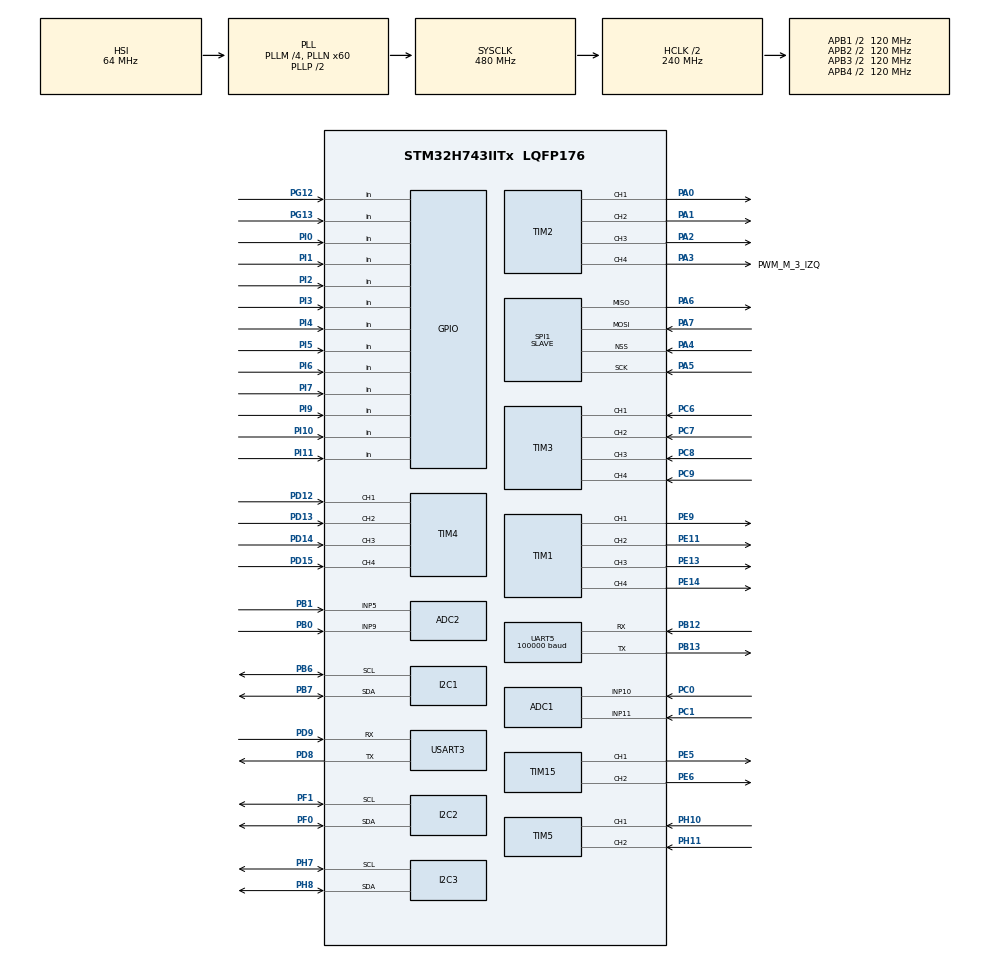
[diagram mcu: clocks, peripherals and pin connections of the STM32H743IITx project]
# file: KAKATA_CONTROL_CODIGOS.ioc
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ADC1.Channel-0\#ChannelRegularConversion=ADC_CHANNEL_11
ADC1.Channel-1\#ChannelRegularConversion=ADC_CHANNEL_10
ADC1.ClockPrescaler=ADC_CLOCK_ASYNC_DIV12
ADC1.ContinuousConvMode=ENABLE
ADC1.NbrOfConversion=2
ADC1.NbrOfConversionFlag=1
ADC1.OffsetNumber-0\#ChannelRegularConversion=ADC_OFFSET_NONE
ADC1.OffsetNumber-1\#ChannelRegularConversion=ADC_OFFSET_NONE
ADC1.OffsetSignedSaturation-0\#ChannelRegularConversion=DISABLE
ADC1.OffsetSignedSaturation-1\#ChannelRegularConversion=DISABLE
ADC1.Rank-0\#ChannelRegularConversion=1
ADC1.Rank-1\#ChannelRegularConversion=2
ADC1.SamplingTime-0\#ChannelRegularConversion=ADC_SAMPLETIME_1CYCLE_5
ADC1.SamplingTime-1\#ChannelRegularConversion=ADC_SAMPLETIME_1CYCLE_5
ADC1.master=1
ADC2.Channel-3\#ChannelRegularConversion=ADC_CHANNEL_9
ADC2.Channel-4\#ChannelRegularConversion=ADC_CHANNEL_5
ADC2.ClockPrescaler=ADC_CLOCK_ASYNC_DIV12
ADC2.NbrOfConversion=2
ADC2.NbrOfConversionFlag=1
ADC2.OffsetNumber-3\#ChannelRegularConversion=ADC_OFFSET_NONE
ADC2.OffsetNumber-4\#ChannelRegularConversion=ADC_OFFSET_NONE
ADC2.OffsetSignedSaturation-3\#ChannelRegularConversion=DISABLE
ADC2.OffsetSignedSaturation-4\#ChannelRegularConversion=DISABLE
ADC2.Rank-3\#ChannelRegularConversion=1
ADC2.Rank-4\#ChannelRegularConversion=2
ADC2.SamplingTime-3\#ChannelRegularConversion=ADC_SAMPLETIME_1CYCLE_5
ADC2.SamplingTime-4\#ChannelRegularConversion=ADC_SAMPLETIME_1CYCLE_5
CORTEX_M7.default_mode_Activation=1
Dma.ADC1.1.Direction=DMA_PERIPH_TO_MEMORY
Dma.ADC1.1.EventEnable=DISABLE
Dma.ADC1.1.FIFOMode=DMA_FIFOMODE_DISABLE
Dma.ADC1.1.Instance=DMA1_Stream1
Dma.ADC1.1.MemDataAlignment=DMA_MDATAALIGN_HALFWORD
Dma.ADC1.1.MemInc=DMA_MINC_ENABLE
Dma.ADC1.1.Mode=DMA_CIRCULAR
Dma.ADC1.1.PeriphDataAlignment=DMA_PDATAALIGN_HALFWORD
Dma.ADC1.1.PeriphInc=DMA_PINC_DISABLE
Dma.ADC1.1.Polarity=HAL_DMAMUX_REQ_GEN_RISING
Dma.ADC1.1.Priority=DMA_PRIORITY_LOW
Dma.ADC1.1.RequestNumber=1
Dma.ADC1.1.SignalID=NONE
Dma.ADC1.1.SyncEnable=DISABLE
Dma.ADC1.1.SyncPolarity=HAL_DMAMUX_SYNC_NO_EVENT
Dma.ADC1.1.SyncRequestNumber=1
Dma.ADC1.1.SyncSignalID=NONE
Dma.Request0=UART5_RX
Dma.Request1=ADC1
Dma.UART5_RX.0.Direction=DMA_PERIPH_TO_MEMORY
Dma.UART5_RX.0.EventEnable=DISABLE
Dma.UART5_RX.0.FIFOMode=DMA_FIFOMODE_DISABLE
Dma.UART5_RX.0.Instance=DMA1_Stream0
Dma.UART5_RX.0.MemDataAlignment=DMA_MDATAALIGN_BYTE
Dma.UART5_RX.0.MemInc=DMA_MINC_ENABLE
Dma.UART5_RX.0.Mode=DMA_CIRCULAR
Dma.UART5_RX.0.PeriphDataAlignment=DMA_PDATAALIGN_BYTE
Dma.UART5_RX.0.PeriphInc=DMA_PINC_DISABLE
Dma.UART5_RX.0.Polarity=HAL_DMAMUX_REQ_GEN_RISING
Dma.UART5_RX.0.Priority=DMA_PRIORITY_LOW
Dma.UART5_RX.0.RequestNumber=1
Dma.UART5_RX.0.SignalID=NONE
Dma.UART5_RX.0.SyncEnable=DISABLE
Dma.UART5_RX.0.SyncPolarity=HAL_DMAMUX_SYNC_NO_EVENT
Dma.UART5_RX.0.SyncRequestNumber=1
Dma.UART5_RX.0.SyncSignalID=NONE
FREERTOS.Tasks01=defaultTask,24,128,StartDefaultTask,Default,NULL,Dynamic,NULL,NULL
I2C1.Timing=0x307075B1
I2C2.Timing=0x307075B1
I2C3.Timing=0x307075B1
Mcu.Family=STM32H7
Mcu.Name=STM32H743IITx
Mcu.Package=LQFP176
NVIC.DMA1_Stream0_IRQn=true\:5\:0\:false\:false\:true\:true\:false\:true\:true
NVIC.DMA1_Stream1_IRQn=true\:5\:0\:false\:false\:true\:true\:false\:true\:true
NVIC.PriorityGroup=NVIC_PRIORITYGROUP_4
NVIC.TIM3_IRQn=true\:5\:0\:false\:false\:true\:true\:true\:true\:true
NVIC.TIM4_IRQn=true\:5\:0\:false\:false\:true\:true\:true\:true\:true
NVIC.TIM5_IRQn=true\:5\:0\:false\:false\:true\:true\:true\:true\:true
NVIC.TIM6_DAC_IRQn=true\:15\:0\:false\:false\:true\:false\:false\:true\:true
NVIC.TimeBase=TIM6_DAC_IRQn
NVIC.TimeBaseIP=TIM6
PA0.Signal=S_TIM2_CH1_ETR
PA1.Signal=S_TIM2_CH2
PA13\ (JTMS/SWDIO).Mode=JTAG_5_pins
PA13\ (JTMS/SWDIO).Signal=DEBUG_JTMS-SWDIO
PA14\ (JTCK/SWCLK).Mode=JTAG_5_pins
PA14\ (JTCK/SWCLK).Signal=DEBUG_JTCK-SWCLK
PA15\ (JTDI).Mode=JTAG_5_pins
PA15\ (JTDI).Signal=DEBUG_JTDI
PA2.Signal=S_TIM2_CH3
PA3.GPIO_Label=PWM_M_3_IZQ
PA3.Signal=S_TIM2_CH4
PA4.Mode=NSS_Signal_Hard_Input
PA4.Signal=SPI1_NSS
PA5.Mode=Full_Duplex_Slave
PA5.Signal=SPI1_SCK
PA6.Mode=Full_Duplex_Slave
PA6.Signal=SPI1_MISO
PA7.Mode=Full_Duplex_Slave
PA7.Signal=SPI1_MOSI
PB0.Signal=ADCx_INP9
PB1.Signal=ADCx_INP5
PB12.Mode=Asynchronous
PB12.Signal=UART5_RX
PB13.Mode=Asynchronous
PB13.Signal=UART5_TX
PB3\ (JTDO/TRACESWO).Mode=JTAG_5_pins
PB3\ (JTDO/TRACESWO).Signal=DEBUG_JTDO-SWO
PB4\ (NJTRST).Mode=JTAG_5_pins
PB4\ (NJTRST).Signal=DEBUG_JTRST
PB6.Mode=I2C
PB6.Signal=I2C1_SCL
PB7.Mode=I2C
PB7.Signal=I2C1_SDA
PC0.Signal=ADCx_INP10
PC1.Signal=ADCx_INP11
PC6.Signal=S_TIM3_CH1
PC7.Signal=S_TIM3_CH2
PC8.Signal=S_TIM3_CH3
PC9.Signal=S_TIM3_CH4
PD12.Signal=S_TIM4_CH1
PD13.Signal=S_TIM4_CH2
PD14.Signal=S_TIM4_CH3
PD15.Signal=S_TIM4_CH4
PD8.Mode=Asynchronous
PD8.Signal=USART3_TX
PD9.Mode=Asynchronous
PD9.Signal=USART3_RX
PE11.Signal=S_TIM1_CH2
PE13.Signal=S_TIM1_CH3
PE14.Signal=S_TIM1_CH4
PE5.Signal=S_TIM15_CH1
PE6.Signal=S_TIM15_CH2
PE9.Signal=S_TIM1_CH1
PF0.Mode=I2C
PF0.Signal=I2C2_SDA
PF1.Mode=I2C
PF1.Signal=I2C2_SCL
PG12.Signal=GPIO_Input
PG13.Signal=GPIO_Input
PH10.Signal=S_TIM5_CH1
PH11.Signal=S_TIM5_CH2
PH7.Mode=I2C
PH7.Signal=I2C3_SCL
PH8.Mode=I2C
PH8.Signal=I2C3_SDA
PI0.Signal=GPIO_Input
PI1.Signal=GPIO_Input
PI10.Signal=GPIO_Input
PI11.Signal=GPIO_Input
PI2.Signal=GPIO_Input
PI3.Signal=GPIO_Input
PI4.Signal=GPIO_Input
PI5.Signal=GPIO_Input
PI6.Signal=GPIO_Input
PI7.Signal=GPIO_Input
PI9.Signal=GPIO_Input
ProjectManager.HeapSize=0x200
ProjectManager.StackSize=0x400
ProjectManager.TargetToolchain=CMake
RCC.ADCFreq_Value=80000000
RCC.APB1Freq_Value=120000000
RCC.APB2Freq_Value=120000000
RCC.APB3Freq_Value=120000000
RCC.APB4Freq_Value=120000000
RCC.CortexFreq_Value=480000000
RCC.D1PPRE=RCC_APB3_DIV2
RCC.D2PPRE1=RCC_APB1_DIV2
RCC.D2PPRE2=RCC_APB2_DIV2
RCC.D3PPRE=RCC_APB4_DIV2
RCC.DIVM1=4
RCC.DIVM2=4
RCC.DIVN1=60
RCC.DIVN2=10
RCC.DIVQ1=5
RCC.HCLKFreq_Value=240000000
RCC.HPRE=RCC_HCLK_DIV2
RCC.PLL2FRACN=0
RCC.PLL3FRACN=0
RCC.PLLFRACN=0
RCC.SYSCLKFreq_VALUE=480000000
RCC.SYSCLKSource=RCC_SYSCLKSOURCE_PLLCLK
RCC.USBFreq_Value=192000000
SH.ADCx_INP10.0=ADC1_INP10,IN10-Single-Ended
SH.ADCx_INP11.0=ADC1_INP11,IN11-Single-Ended
SH.ADCx_INP5.0=ADC2_INP5,IN5-Single-Ended
SH.ADCx_INP9.0=ADC2_INP9,IN9-Single-Ended
SH.S_TIM15_CH1.0=TIM15_CH1,PWM Generation1 CH1
SH.S_TIM15_CH2.0=TIM15_CH2,PWM Generation2 CH2
SH.S_TIM1_CH1.0=TIM1_CH1,PWM Generation1 CH1
SH.S_TIM1_CH2.0=TIM1_CH2,PWM Generation2 CH2
SH.S_TIM1_CH3.0=TIM1_CH3,PWM Generation3 CH3
SH.S_TIM1_CH4.0=TIM1_CH4,PWM Generation4 CH4
SH.S_TIM2_CH1_ETR.0=TIM2_CH1,PWM Generation1 CH1
SH.S_TIM2_CH2.0=TIM2_CH2,PWM Generation2 CH2
SH.S_TIM2_CH3.0=TIM2_CH3,PWM Generation3 CH3
SH.S_TIM2_CH4.0=TIM2_CH4,PWM Generation4 CH4
SH.S_TIM3_CH1.0=TIM3_CH1,Input_Capture1_from_TI1
SH.S_TIM3_CH2.0=TIM3_CH2,Input_Capture2_from_TI2
SH.S_TIM3_CH3.0=TIM3_CH3,Input_Capture3_from_TI3
SH.S_TIM3_CH4.0=TIM3_CH4,Input_Capture4_from_TI4
SH.S_TIM4_CH1.0=TIM4_CH1,Input_Capture1_from_TI1
SH.S_TIM4_CH2.0=TIM4_CH2,Input_Capture2_from_TI2
SH.S_TIM4_CH3.0=TIM4_CH3,Input_Capture3_from_TI3
SH.S_TIM4_CH4.0=TIM4_CH4,Input_Capture4_from_TI4
SH.S_TIM5_CH1.0=TIM5_CH1,Input_Capture1_from_TI1
SH.S_TIM5_CH2.0=TIM5_CH2,Input_Capture2_from_TI2
SPI1.Direction=SPI_DIRECTION_2LINES
SPI1.Mode=SPI_MODE_SLAVE
SPI1.VirtualNSS=VM_NSSHARD
SPI1.VirtualType=VM_SLAVE
TIM1.Channel-PWM\ Generation1\ CH1=TIM_CHANNEL_1
TIM1.Channel-PWM\ Generation2\ CH2=TIM_CHANNEL_2
TIM1.Channel-PWM\ Generation3\ CH3=TIM_CHANNEL_3
TIM1.Channel-PWM\ Generation4\ CH4=TIM_CHANNEL_4
TIM15.Channel-PWM\ Generation1\ CH1=TIM_CHANNEL_1
TIM15.Channel-PWM\ Generation2\ CH2=TIM_CHANNEL_2
TIM2.AutoReloadPreload=TIM_AUTORELOAD_PRELOAD_ENABLE
TIM2.Channel-PWM\ Generation1\ CH1=TIM_CHANNEL_1
TIM2.Channel-PWM\ Generation2\ CH2=TIM_CHANNEL_2
TIM2.Channel-PWM\ Generation3\ CH3=TIM_CHANNEL_3
TIM2.Channel-PWM\ Generation4\ CH4=TIM_CHANNEL_4
TIM3.Channel-Input_Capture1_from_TI1=TIM_CHANNEL_1
TIM3.Channel-Input_Capture2_from_TI2=TIM_CHANNEL_2
TIM3.Channel-Input_Capture3_from_TI3=TIM_CHANNEL_3
TIM3.Channel-Input_Capture4_from_TI4=TIM_CHANNEL_4
TIM4.Channel-Input_Capture1_from_TI1=TIM_CHANNEL_1
TIM4.Channel-Input_Capture2_from_TI2=TIM_CHANNEL_2
TIM4.Channel-Input_Capture3_from_TI3=TIM_CHANNEL_3
TIM4.Channel-Input_Capture4_from_TI4=TIM_CHANNEL_4
TIM5.Channel-Input_Capture1_from_TI1=TIM_CHANNEL_1
TIM5.Channel-Input_Capture2_from_TI2=TIM_CHANNEL_2
UART5.BaudRate=100000
UART5.DataInvertParam=UART_ADVFEATURE_DATAINV_DISABLE
UART5.Parity=PARITY_EVEN
UART5.RxPinLevelInvertParam=UART_ADVFEATURE_RXINV_ENABLE
UART5.StopBits=UART_STOPBITS_2
UART5.WordLength=WORDLENGTH_9B
USART3.VirtualMode-Asynchronous=VM_ASYNC
VP_FREERTOS_VS_CMSIS_V2.Mode=CMSIS_V2
VP_MEMORYMAP_VS_MEMORYMAP.Mode=CurAppReg
VP_SYS_VS_tim6.Mode=TIM6
VP_TIM1_VS_ClockSourceINT.Mode=Internal
VP_TIM2_VS_ClockSourceINT.Mode=Internal
VP_TIM3_VS_ClockSourceINT.Mode=Internal
VP_TIM4_VS_ClockSourceINT.Mode=Internal
board=custom

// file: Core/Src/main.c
/* USER CODE BEGIN Header */
/**
 ******************************************************************************
 * @file           : main.c
 * @brief          : Main program body
 ******************************************************************************
 * @attention
 *
 * Copyright (c) 2026 STMicroelectronics.
 * All rights reserved.
 *
 * This software is licensed under terms that can be found in the LICENSE file
 * in the root directory of this software component.
 * If no LICENSE file comes with this software, it is provided AS-IS.
 *
 ******************************************************************************
 */
/* USER CODE END Header */

#include "FreeRTOS.h"

#include "main.h"
#include "cmsis_os2.h"
#include "adc.h"
#include "dma.h"
#include "i2c.h"
#include "mpu_prototypes.h"
#include "portmacro.h"
#include "projdefs.h"
#include "spi.h"
#include "stm32h7xx_hal_tim.h"
#include "tim.h"
#include "usart.h"
#include "gpio.h"
#include "motor.h"
#include <stdint.h>

/* USER CODE BEGIN PV */
MotorHandle_t motores[10];
uint8_t packed_motores_size;

/* USER CODE END PV */

void SystemClock_Config(void);
void PeriphCommonClock_Config(void);
static void MPU_Config(void);
void MX_FREERTOS_Init(void);
/* USER CODE BEGIN PFP */

void TaskMotorControl(void *Pvparameter);
void TaskRFSbus(void *Pvparameter);
void TaskTelemetria(void *Pvparameter);
void TaskRaspyCom(void *Pvparamter);
void TaskFNComplete(void *Pvparameter);

/* USER CODE END PFP */

int main(void)
{

  /* USER CODE BEGIN 1 */

  MotorConfig_t cfg_motores[10] = {
     [0]= {
          // Delantero IZQ
          .type = MOTOR_TYPE_STEER,
          .pwm_tim = &htim1,
          .pwm_channel = TIM_CHANNEL_1,
          .dir_portA = GPIOG,
          .dir_portB = GPIOG,
          .dir_A = 4,
          .dir_b = 5,
          .enc_capture_tim = &htim3,
          .enc_captureA_channel = TIM_CHANNEL_3,
          .gear_ratio = 50,
          .enc_ppr = 200,

          .izq_limit_port = GPIOC,
          .der_limit_port = GPIOD,
          .izq_limit = 3,
          .der_limit = 5,
          .kp = 200,
          .ki = 0,
          .kd = 0,
      },
      [1]={
          //Delantero DER
          .type = MOTOR_TYPE_STEER,
          .pwm_tim = &htim1,
          .pwm_channel = TIM_CHANNEL_2,
          .dir_portA = GPIOG,
          .dir_portB = GPIOG,
          .dir_A = 6,
          .dir_b = 7,
          .enc_capture_tim = &htim3,
          .enc_captureA_channel = TIM_CHANNEL_4,
          .gear_ratio = 50,
          .enc_ppr = 200,

          .izq_limit_port = GPIOC,
          .der_limit_port = GPIOD,
          .izq_limit = 3,
          .der_limit = 5,
          .kp = 200,
          .ki = 0,
          .kd = 0,
      },
      [2]={
          //Trasero IZQ
          .type = MOTOR_TYPE_STEER,
          .pwm_tim = &htim1,
          .pwm_channel = TIM_CHANNEL_3,
          .dir_portA = GPIOG,
          .dir_portB = GPIOG,
          .dir_A = 0,
          .dir_b = 1,
          .enc_capture_tim = &htim3,
          .enc_captureA_channel = TIM_CHANNEL_1,
          .gear_ratio = 50,
          .enc_ppr = 200,

          .izq_limit_port = GPIOC,
          .der_limit_port = GPIOD,
          .izq_limit = 3,
          .der_limit = 5,
          .kp = 200,
          .ki = 0,
          .kd = 0,
      },
      [3]={

          //Trasero DER
          .type = MOTOR_TYPE_STEER,
          .pwm_tim = &htim1,
          .pwm_channel = TIM_CHANNEL_4,
          .dir_portA = GPIOG,
          .dir_portB = GPIOG,
          .dir_A = 2,
          .dir_b = 3,
          .enc_capture_tim = &htim3,
          .enc_captureA_channel = TIM_CHANNEL_2,
          .gear_ratio = 50,
          .enc_ppr = 200,

          .izq_limit_port = GPIOC,
          .der_limit_port = GPIOD,
          .izq_limit = 3,
          .der_limit = 5,
          .kp = 200,
          .ki = 0,
          .kd = 0,
      },
      [4]={

          // M1 IZQ
          .type = MOTOR_TYPE_DRIVE,
          .pwm_tim = &htim2,
          .pwm_channel = TIM_CHANNEL_1,
          .dir_portA = GPIOG,
          .dir_portB = GPIOG,
          .dir_A = 8,
          .dir_b = 9,
          .enc_capture_tim = &htim4,
          .enc_captureA_channel = TIM_CHANNEL_1,
          .gear_ratio = 50,
          .enc_ppr = 200,

          .kp = 200,
          .ki = 0,
          .kd = 0,

      },
    [5]={

          // M1 DER
          .type = MOTOR_TYPE_DRIVE,
          .pwm_tim = &htim2,
          .pwm_channel = TIM_CHANNEL_2,
          .dir_portA = GPIOG,
          .dir_portB = GPIOG,
          .dir_A = 10,
          .dir_b = 11,
          .enc_capture_tim = &htim4,
          .enc_captureA_channel = TIM_CHANNEL_3,
          .gear_ratio = 50,
          .enc_ppr = 200,

          .kp = 200,
          .ki = 0,
          .kd = 0,
    },
    [6]={

          // M3 DER
          .type = MOTOR_TYPE_DRIVE,
          .pwm_tim = &htim2,
          .pwm_channel = TIM_CHANNEL_3,
          .dir_portA = GPIOG,
          .dir_portB = GPIOG,
          .dir_A = 10,
          .dir_b = 11,
          .enc_capture_tim = &htim4,
          .enc_captureA_channel = TIM_CHANNEL_4,
          .gear_ratio = 50,
          .enc_ppr = 200,

          .kp = 200,
          .ki = 0,
          .kd = 0,
    },
     [7]={
          // M3 IZQ
          .type = MOTOR_TYPE_DRIVE,
          .pwm_tim = &htim2,
          .pwm_channel = TIM_CHANNEL_4,
          .dir_portA = GPIOG,
          .dir_portB = GPIOG,
          .dir_A = 8,
          .dir_b = 9,
          .enc_capture_tim = &htim4,
          .enc_captureA_channel = TIM_CHANNEL_2,
          .gear_ratio = 50,
          .enc_ppr = 200,

          .kp = 200,
          .ki = 0,
          .kd = 0,
     },
     [8]={
          // M2 IZQ
          .type = MOTOR_TYPE_DRIVE,
          .pwm_tim = &htim15,
          .pwm_channel = TIM_CHANNEL_1,
          .dir_portA = GPIOG,
          .dir_portB = GPIOG,
          .dir_A = 8,
          .dir_b = 9,
          .enc_capture_tim = &htim5,
          .enc_captureA_channel = TIM_CHANNEL_1,
          .gear_ratio = 50,
          .enc_ppr = 200,

          .kp = 200,
          .ki = 0,
          .kd = 0,
     },
     [9]={

          // M2 DER
          .type = MOTOR_TYPE_DRIVE,
          .pwm_tim = &htim15,
          .pwm_channel = TIM_CHANNEL_2,
          .dir_portA = GPIOG,
          .dir_portB = GPIOG,
          .dir_A = 10,
          .dir_b = 11,
          .enc_capture_tim = &htim5,
          .enc_captureA_channel = TIM_CHANNEL_2,
          .gear_ratio = 50,
          .enc_ppr = 200,

          .kp = 200,
          .ki = 0,
          .kd = 0,
     },
  };

  /* USER CODE END 1 */

  /* MPU Configuration--------------------------------------------------------*/
  MPU_Config();

  /* MCU Configuration--------------------------------------------------------*/

  /* Reset of all peripherals, Initializes the Flash interface and the Systick. */
  HAL_Init();

  /* Configure the system clock */
  SystemClock_Config();

  /* Configure the peripherals common clocks */
  PeriphCommonClock_Config();

  /* Initialize all configured peripherals */
  MX_GPIO_Init();
  MX_DMA_Init();
  MX_TIM1_Init();
  MX_TIM2_Init();
  MX_TIM3_Init();
  MX_TIM4_Init();
  MX_TIM5_Init();
  MX_TIM15_Init();
  MX_I2C1_Init();
  MX_UART5_Init();
  MX_ADC1_Init();
  MX_ADC2_Init();
  MX_I2C2_Init();
  MX_I2C3_Init();
  MX_SPI1_Init();
  MX_USART3_UART_Init();
  /* USER CODE BEGIN 2 */
  for (uint8_t i = 0; i < (sizeof(cfg_motores) / sizeof(MotorConfig_t)); i++) {
    motores[i] = Motor_Init(&cfg_motores[i]);
  }
  packed_motores_size = sizeof(motores)/sizeof(motores[0]);
  /* USER CODE END 2 */

  /* Init scheduler */
  osKernelInitialize();  /* Call init function for freertos objects (in cmsis_os2.c) */
  MX_FREERTOS_Init();

  /* Start scheduler */
  osKernelStart();

  /* We should never get here as control is now taken by the scheduler */

  /* Infinite loop */
  while (1) {

  }
}

void SystemClock_Config(void)
{
  RCC_OscInitTypeDef RCC_OscInitStruct = {0};
  RCC_ClkInitTypeDef RCC_ClkInitStruct = {0};

  /** Supply configuration update enable
  */
  HAL_PWREx_ConfigSupply(PWR_LDO_SUPPLY);

  /** Configure the main internal regulator output voltage
  */
  __HAL_PWR_VOLTAGESCALING_CONFIG(PWR_REGULATOR_VOLTAGE_SCALE0);

  while(!__HAL_PWR_GET_FLAG(PWR_FLAG_VOSRDY)) {}

  /** Initializes the RCC Oscillators according to the specified parameters
  * in the RCC_OscInitTypeDef structure.
  */
  RCC_OscInitStruct.OscillatorType = RCC_OSCILLATORTYPE_HSI;
  RCC_OscInitStruct.HSIState = RCC_HSI_DIV1;
  RCC_OscInitStruct.HSICalibrationValue = RCC_HSICALIBRATION_DEFAULT;
  RCC_OscInitStruct.PLL.PLLState = RCC_PLL_ON;
  RCC_OscInitStruct.PLL.PLLSource = RCC_PLLSOURCE_HSI;
  RCC_OscInitStruct.PLL.PLLM = 4;
  RCC_OscInitStruct.PLL.PLLN = 60;
  RCC_OscInitStruct.PLL.PLLP = 2;
  RCC_OscInitStruct.PLL.PLLQ = 5;
  RCC_OscInitStruct.PLL.PLLR = 2;
  RCC_OscInitStruct.PLL.PLLRGE = RCC_PLL1VCIRANGE_3;
  RCC_OscInitStruct.PLL.PLLVCOSEL = RCC_PLL1VCOWIDE;
  RCC_OscInitStruct.PLL.PLLFRACN = 0;
  if (HAL_RCC_OscConfig(&RCC_OscInitStruct) != HAL_OK)
  {
    Error_Handler();
  }

  /** Initializes the CPU, AHB and APB buses clocks
  */
  RCC_ClkInitStruct.ClockType = RCC_CLOCKTYPE_HCLK|RCC_CLOCKTYPE_SYSCLK
                              |RCC_CLOCKTYPE_PCLK1|RCC_CLOCKTYPE_PCLK2
                              |RCC_CLOCKTYPE_D3PCLK1|RCC_CLOCKTYPE_D1PCLK1;
  RCC_ClkInitStruct.SYSCLKSource = RCC_SYSCLKSOURCE_PLLCLK;
  RCC_ClkInitStruct.SYSCLKDivider = RCC_SYSCLK_DIV1;
  RCC_ClkInitStruct.AHBCLKDivider = RCC_HCLK_DIV2;
  RCC_ClkInitStruct.APB3CLKDivider = RCC_APB3_DIV2;
  RCC_ClkInitStruct.APB1CLKDivider = RCC_APB1_DIV2;
  RCC_ClkInitStruct.APB2CLKDivider = RCC_APB2_DIV2;
  RCC_ClkInitStruct.APB4CLKDivider = RCC_APB4_DIV2;

  if (HAL_RCC_ClockConfig(&RCC_ClkInitStruct, FLASH_LATENCY_4) != HAL_OK)
  {
    Error_Handler();
  }
}

void PeriphCommonClock_Config(void)
{
  RCC_PeriphCLKInitTypeDef PeriphClkInitStruct = {0};

  /** Initializes the peripherals clock
  */
  PeriphClkInitStruct.PeriphClockSelection = RCC_PERIPHCLK_ADC;
  PeriphClkInitStruct.PLL2.PLL2M = 4;
  PeriphClkInitStruct.PLL2.PLL2N = 10;
  PeriphClkInitStruct.PLL2.PLL2P = 2;
  PeriphClkInitStruct.PLL2.PLL2Q = 2;
  PeriphClkInitStruct.PLL2.PLL2R = 2;
  PeriphClkInitStruct.PLL2.PLL2RGE = RCC_PLL2VCIRANGE_3;
  PeriphClkInitStruct.PLL2.PLL2VCOSEL = RCC_PLL2VCOMEDIUM;
  PeriphClkInitStruct.PLL2.PLL2FRACN = 0;
  PeriphClkInitStruct.AdcClockSelection = RCC_ADCCLKSOURCE_PLL2;
  if (HAL_RCCEx_PeriphCLKConfig(&PeriphClkInitStruct) != HAL_OK)
  {
    Error_Handler();
  }
}

/* USER CODE BEGIN 4 */

/********TAREAS BEGIN ***************** */
// motor control PRIO 0
void TaskMotorControl(void *Pvparameter) {
  /*HOMING*/
  for(uint8_t i=0;i< packed_motores_size; i++){
    if (motores[i]!=NULL && Motor_Get_Type(motores[i]) == MOTOR_TYPE_STEER){
      Motor_SetRawPWM(motores[i], 1, 2000);

      while(!SetZeroDegres(motores[i])){
        vTaskDelay(pdMS_TO_TICKS(10));
      }
      Motor_SetRawPWM(motores[i], 1, 0);
      vTaskDelay(pdMS_TO_TICKS(100));

      Motor_SetRawPWM(motores[i], 0, 2000);

      while(!SetMaxDegres(motores[i],180)){
        vTaskDelay(pdMS_TO_TICKS(10));
      }

      Motor_SetRawPWM(motores[i], 1, 0);
      vTaskDelay(pdMS_TO_TICKS(100));

      Motor_SetTargetPosition(motores[i], 90.0f);
    }
  }
  /*HOMING*/

  TickType_t xLastWakeTime = xTaskGetTickCount();
  const TickType_t xFrecuency= pdMS_TO_TICKS(5);
  for(;;){

  for (uint32_t i=0;i< packed_motores_size ; i++) {
    ControllerLoop(motores[i], DELTA_TIME_SEC);
  }
  vTaskDelayUntil(&xLastWakeTime, xFrecuency);
  }

}
// tarea RF PRIO 1
void TaskRFSbus(void *Pvparameter) {}
//  telemetria "velocidad,nivel de bateria,gps" PRIO 2
void TaskTelemetria(void *Pvparameter) {}
//  comunicacion Raspberry PRIO 3
void TaskRaspyCom(void *Pvparamter) {}
//  tareas completadas PRIO 4
void TaskFNComplete(void *Pvparamter) {}
/************TAREAS END**************** */

/* USER CODE END 4 */

 /* MPU Configuration */

void MPU_Config(void)
{
  MPU_Region_InitTypeDef MPU_InitStruct = {0};

  /* Disables the MPU */
  HAL_MPU_Disable();

  /** Initializes and configures the Region and the memory to be protected
  */
  MPU_InitStruct.Enable = MPU_REGION_ENABLE;
  MPU_InitStruct.Number = MPU_REGION_NUMBER0;
  MPU_InitStruct.BaseAddress = 0x0;
  MPU_InitStruct.Size = MPU_REGION_SIZE_4GB;
  MPU_InitStruct.SubRegionDisable = 0x87;
  MPU_InitStruct.TypeExtField = MPU_TEX_LEVEL0;
  MPU_InitStruct.AccessPermission = MPU_REGION_NO_ACCESS;
  MPU_InitStruct.DisableExec = MPU_INSTRUCTION_ACCESS_DISABLE;
  MPU_InitStruct.IsShareable = MPU_ACCESS_SHAREABLE;
  MPU_InitStruct.IsCacheable = MPU_ACCESS_NOT_CACHEABLE;
  MPU_InitStruct.IsBufferable = MPU_ACCESS_NOT_BUFFERABLE;

  HAL_MPU_ConfigRegion(&MPU_InitStruct);
  /* Enables the MPU */
  HAL_MPU_Enable(MPU_PRIVILEGED_DEFAULT);

}

void HAL_TIM_PeriodElapsedCallback(TIM_HandleTypeDef *htim)
{
  if (htim->Instance == TIM6)
  {
    HAL_IncTick();
  }
}
void HAL_TIM_IC_CaptureCallback(TIM_HandleTypeDef *htim){

  for (uint8_t i=0; i<packed_motores_size; i++) {
    Motor_UpdateEncoder(motores[i], htim);
  }
}

void Error_Handler(void)
{
  __disable_irq();
  while (1) {
  }
}
#ifdef USE_FULL_ASSERT
/**
  * @brief  Reports the name of the source file and the source line number
  *         where the assert_param error has occurred.
  * @param  file: pointer to the source file name
  * @param  line: assert_param error line source number
  * @retval None
  */
void assert_failed(uint8_t *file, uint32_t line)
{
  /* USER CODE BEGIN 6 */
  /* User can add his own implementation to report the file name and line
     number, ex: printf("Wrong parameters value: file %s on line %d\r\n", file,
     line) */
  /* USER CODE END 6 */
}
#endif /* USE_FULL_ASSERT */
